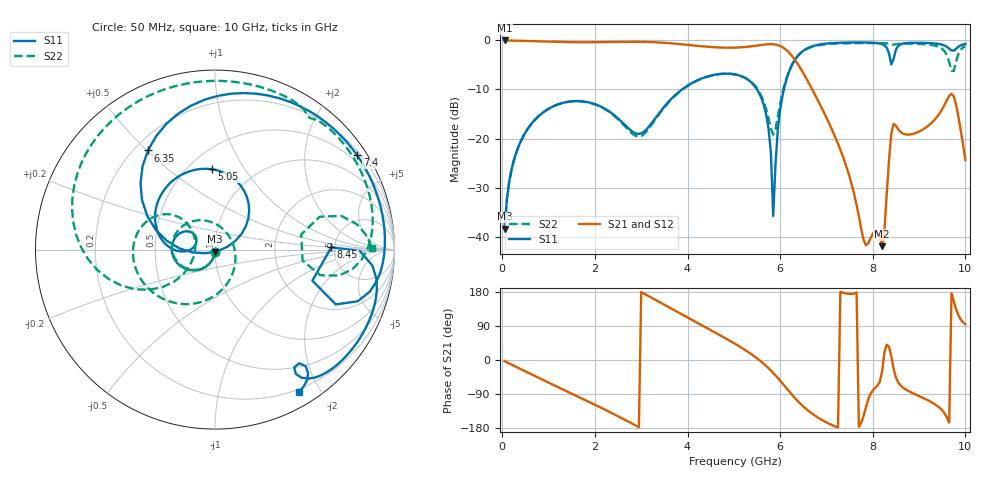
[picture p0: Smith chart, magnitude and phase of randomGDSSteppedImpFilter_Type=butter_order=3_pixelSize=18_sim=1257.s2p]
! freq	dB(S11)	phase(S11)	dB(S12)	phase(S12)
!  dB(S21)	phase(S21)	dB(S22)	phase(S22)
!S-par simulation data
#  GHz  S  DB  R 50
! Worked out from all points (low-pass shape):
!   200 points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, 50 MHz to 10 GHz, reference 50 ohm
!   highest |S21| = -0.01 dB at 50 MHz (marker M1); lowest = -41.9 dB at 8.2 GHz (marker M2)
!   |S21| within 3 dB of the highest: start of sweep to 6.242 GHz
!   lowest |S11| = -38.4 dB at 50 MHz (marker M3), VSWR 1.02, Z = 49.9 - j1.2 ohm
!   |S11| at or under -10 dB: start of sweep to 3.88 GHz; 5.501 GHz to 6.081 GHz (579.6 MHz wide, 10 % of centre)
!   |S22| runs from -38.2 to -0.5 dB; largest |S21 - S12| = 0
!   S11 on the Smith chart (normalised r, x): 50 MHz: 1.00, -0.02; 5.05 GHz: 0.65, +0.73; 6.35 GHz: 0.25, +0.50; 7.4 GHz: 0.30, +3.29; 8.45 GHz: 4.67, +0.21; 10 GHz: 0.17, -1.74
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0.05  -38.37 -92.1  -0.01 -3.1  -0.01 -3.1  -38.24 -91.5
0.2  -26.32 -102.2  -0.03 -12.2  -0.03 -12.2  -26.33 -102.3
0.5  -18.75 -120.3  -0.10 -30.1  -0.10 -30.1  -18.76 -120.9
1.75  -12.44 170.7  -0.38 -103.3  -0.38 -103.3  -12.47 161.7
2.7  -17.71 145.9  -0.27 -161.2  -0.27 -161.2  -18.04 71.7
3.4  -14.64 -176.7  -0.43 152.5  -0.43 152.5  -14.86 -61.4
4.2  -8.18 148.6  -1.09 98.7  -1.09 98.7  -8.23 -132.6
5.05  -6.98 92.1  -1.46 41.0  -1.46 41.0  -6.98 171.2
5.65  -13.28 37.3  -0.86 -10.5  -0.86 -10.5  -12.62 136.7
5.8  -22.88 13.1  -0.77 -27.7  -0.77 -27.7  -17.94 152.4
5.85  -35.78 -31.0  -0.79 -34.0  -0.79 -34.0  -19.20 173.8
6  -14.12 178.2  -1.14 -54.6  -1.14 -54.6  -12.90 -142.0
6.35  -3.52 124.1  -4.38 -104.6  -4.38 -104.6  -3.53 -170.2
6.7  -1.17 84.0  -10.11 -142.4  -10.11 -142.4  -1.28 155.2
7.4  -0.44 33.6  -24.88 176.2  -24.88 176.2  -0.58 107.8
7.85  -0.43 9.1  -41.75 -125.8  -41.75 -125.8  -0.53 83.5
8.2  -0.75 -11.2  -41.94 -31.1  -41.94 -31.1  -0.55 65.4
8.35  -2.62 -24.4  -24.44 34.7  -24.44 34.7  -0.70 57.3
8.45  -3.77 1.1  -17.00 -23.6  -17.00 -23.6  -0.88 54.2
9.3  -0.59 -43.7  -16.53 -113.5  -16.53 -113.5  -0.99 10.1
9.7  -2.04 -56.1  -10.88 176.1  -10.88 176.1  -6.17 -7.1
10  -0.72 -59.4  -24.40 94.4  -24.40 94.4  -1.15 0.7
